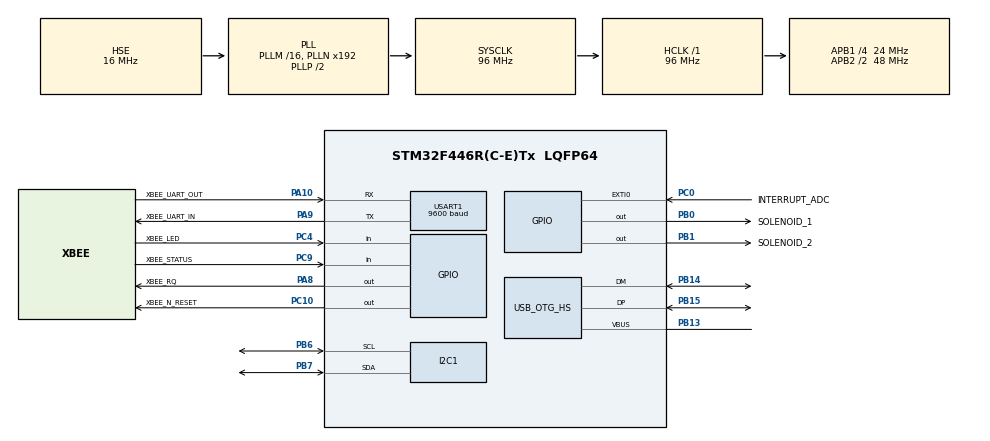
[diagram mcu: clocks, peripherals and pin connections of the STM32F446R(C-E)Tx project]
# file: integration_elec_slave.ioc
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Dma.I2C1_RX.0.Direction=DMA_PERIPH_TO_MEMORY
Dma.I2C1_RX.0.FIFOMode=DMA_FIFOMODE_DISABLE
Dma.I2C1_RX.0.Instance=DMA1_Stream0
Dma.I2C1_RX.0.MemDataAlignment=DMA_MDATAALIGN_BYTE
Dma.I2C1_RX.0.MemInc=DMA_MINC_ENABLE
Dma.I2C1_RX.0.Mode=DMA_NORMAL
Dma.I2C1_RX.0.PeriphDataAlignment=DMA_PDATAALIGN_BYTE
Dma.I2C1_RX.0.PeriphInc=DMA_PINC_DISABLE
Dma.I2C1_RX.0.Priority=DMA_PRIORITY_LOW
Dma.I2C1_TX.1.Direction=DMA_MEMORY_TO_PERIPH
Dma.I2C1_TX.1.FIFOMode=DMA_FIFOMODE_DISABLE
Dma.I2C1_TX.1.Instance=DMA1_Stream6
Dma.I2C1_TX.1.MemDataAlignment=DMA_MDATAALIGN_BYTE
Dma.I2C1_TX.1.MemInc=DMA_MINC_ENABLE
Dma.I2C1_TX.1.Mode=DMA_NORMAL
Dma.I2C1_TX.1.PeriphDataAlignment=DMA_PDATAALIGN_BYTE
Dma.I2C1_TX.1.PeriphInc=DMA_PINC_DISABLE
Dma.I2C1_TX.1.Priority=DMA_PRIORITY_LOW
Dma.Request0=I2C1_RX
Dma.Request1=I2C1_TX
Mcu.Family=STM32F4
Mcu.Name=STM32F446R(C-E)Tx
Mcu.Package=LQFP64
NVIC.DMA1_Stream0_IRQn=true\:0\:0\:false\:false\:true\:false\:true\:true
NVIC.DMA1_Stream6_IRQn=true\:0\:0\:false\:false\:true\:false\:true\:true
NVIC.EXTI0_IRQn=true\:0\:0\:false\:false\:true\:true\:true\:true
NVIC.I2C1_ER_IRQn=true\:0\:0\:false\:false\:true\:true\:true\:true
NVIC.I2C1_EV_IRQn=true\:0\:0\:false\:false\:true\:true\:true\:true
NVIC.OTG_HS_IRQn=true\:0\:0\:false\:false\:true\:false\:true\:true
NVIC.PriorityGroup=NVIC_PRIORITYGROUP_4
NVIC.TIM1_UP_TIM10_IRQn=true\:0\:0\:false\:false\:true\:true\:true\:true
NVIC.TIM2_IRQn=true\:0\:0\:false\:false\:true\:true\:true\:true
NVIC.USART1_IRQn=true\:0\:0\:false\:false\:true\:true\:true\:true
PA10.GPIO_Label=XBEE_UART_OUT
PA10.Mode=Asynchronous
PA10.Signal=USART1_RX
PA13.Mode=Serial_Wire
PA13.Signal=SYS_JTMS-SWDIO
PA14.Mode=Serial_Wire
PA14.Signal=SYS_JTCK-SWCLK
PA8.GPIO_Label=XBEE_RQ
PA8.GPIO_PuPd=GPIO_PULLDOWN
PA8.Signal=GPIO_Output
PA9.GPIO_Label=XBEE_UART_IN
PA9.Mode=Asynchronous
PA9.Signal=USART1_TX
PB0.GPIO_Label=SOLENOID_1
PB0.PinState=GPIO_PIN_RESET
PB0.Signal=GPIO_Output
PB1.GPIO_Label=SOLENOID_2
PB1.Signal=GPIO_Output
PB13.Mode=Activate_VBUS_FS
PB13.Signal=USB_OTG_HS_VBUS
PB14.Mode=Device_Only_FS
PB14.Signal=USB_OTG_HS_DM
PB15.Mode=Device_Only_FS
PB15.Signal=USB_OTG_HS_DP
PB6.Mode=I2C
PB6.Signal=I2C1_SCL
PB7.Mode=I2C
PB7.Signal=I2C1_SDA
PC0.GPIO_Label=INTERRUPT_ADC
PC0.GPIO_ModeDefaultEXTI=GPIO_MODE_IT_FALLING
PC0.GPIO_PuPd=GPIO_PULLUP
PC0.Signal=GPXTI0
PC10.GPIO_Label=XBEE_N_RESET
PC10.GPIO_PuPd=GPIO_PULLUP
PC10.Signal=GPIO_Output
PC4.GPIO_Label=XBEE_LED
PC4.Signal=GPIO_Input
PC9.GPIO_Label=XBEE_STATUS
PC9.Signal=GPIO_Input
PH0-OSC_IN.Mode=HSE-External-Oscillator
PH0-OSC_IN.Signal=RCC_OSC_IN
PH1-OSC_OUT.Mode=HSE-External-Oscillator
PH1-OSC_OUT.Signal=RCC_OSC_OUT
ProjectManager.HeapSize=0x200
ProjectManager.StackSize=0x400
ProjectManager.TargetToolchain=STM32CubeIDE
RCC.AHBFreq_Value=96000000
RCC.APB1CLKDivider=RCC_HCLK_DIV4
RCC.APB1Freq_Value=24000000
RCC.APB1TimFreq_Value=48000000
RCC.APB2CLKDivider=RCC_HCLK_DIV2
RCC.APB2Freq_Value=48000000
RCC.APB2TimFreq_Value=96000000
RCC.CortexFreq_Value=96000000
RCC.HCLKFreq_Value=96000000
RCC.HSE_VALUE=16000000
RCC.PLLQ=4
RCC.SYSCLKFreq_VALUE=96000000
RCC.SYSCLKSource=RCC_SYSCLKSOURCE_PLLCLK
RCC.USBFreq_Value=48000000
RCC.VCOOutputFreq_Value=192000000
TIM1.AutoReloadPreload=TIM_AUTORELOAD_PRELOAD_ENABLE
TIM1.Period=2000
TIM1.Prescaler=9599
TIM2.Period=500000
TIM2.Prescaler=48
USART1.BaudRate=9600
USART1.VirtualMode=VM_ASYNC
USB_DEVICE.CLASS_NAME_HS=CDC
USB_DEVICE.VirtualMode-CDC_HS=Cdc
USB_DEVICE.VirtualModeHS=Cdc_HS
USB_OTG_HS.VirtualMode-Device_Only_FS=Device_Only_FS
VP_TIM1_VS_ClockSourceINT.Mode=Internal
VP_TIM2_VS_ClockSourceINT.Mode=Internal
VP_USB_DEVICE_VS_USB_DEVICE_CDC_HS.Mode=CDC_HS
board=custom

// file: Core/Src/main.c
/* USER CODE BEGIN Header */
/**
  ******************************************************************************
  * @file           : main.c
  * @brief          : Main program body
  ******************************************************************************
  * @attention
  *
  * Copyright (c) 2026 STMicroelectronics.
  * All rights reserved.
  *
  * This software is licensed under terms that can be found in the LICENSE file
  * in the root directory of this software component.
  * If no LICENSE file comes with this software, it is provided AS-IS.
  *
  ******************************************************************************
  */
/* USER CODE END Header */
#include "main.h"
#include "dma.h"
#include "i2c.h"
#include "tim.h"
#include "usart.h"
#include "usb_device.h"
#include "gpio.h"

/* USER CODE BEGIN Includes */
#include "ads1015.h"
#include "XbeeRF.h"
#include "RF_Reception.h"
#include <string.h>
/* USER CODE END Includes */

/* USER CODE BEGIN PD */
#define ADS1015_REG_CONV 0b00000001
/* USER CODE END PD */

void SystemClock_Config(void);

/* USER CODE BEGIN 0 */
static ADS1015_Handle ads;
static float voltage;
static Xbee_message_receive receive_msg;
Xbee_Message send_msg;
volatile static bool new_rf_message = false;
/* USER CODE END 0 */

int main(void)
{

  /* MCU Configuration--------------------------------------------------------*/

  /* Reset of all peripherals, Initializes the Flash interface and the Systick. */
  HAL_Init();

  /* Configure the system clock */
  SystemClock_Config();

  /* Initialize all configured peripherals */
  MX_GPIO_Init();
  MX_DMA_Init();
  MX_I2C1_Init();
  MX_USART1_UART_Init();
  MX_TIM2_Init();
  MX_USB_DEVICE_Init();
  MX_TIM1_Init();
  /* USER CODE BEGIN 2 */
  // todo : implémenter les séquences d'initialisation des différents modules
  HAL_TIM_Base_Start_IT(&htim1);
  XBeeRF_Init();
  send_msg.start_char = 0xFEEDCAFE;
  send_msg.end_char = 0xBEEFCACA;

  //XBee_StartReceive();
  //HAL_UART_Receive_IT(&huart1, &temp_byte, 1);

  HAL_GPIO_WritePin(SOLENOID_1_GPIO_Port,SOLENOID_1_Pin,GPIO_PIN_RESET);
  HAL_GPIO_WritePin(SOLENOID_2_GPIO_Port,SOLENOID_2_Pin,GPIO_PIN_RESET);
  /* USER CODE BEGIN 2 */
  ADS1015_Init(&ads, &hi2c1);

  ADS1015_StartConversion(&ads);

  send_msg.start_char = 0xCACAFEED;
  send_msg.end_char = 0xCAFEBEEF;
  /* USER CODE END 2 */

  /* Infinite loop */
  /* USER CODE BEGIN WHILE */
  while (1)
  {
	  GPIO_PinState valve1 = HAL_GPIO_ReadPin(SOLENOID_1_GPIO_Port, SOLENOID_1_Pin);
	  GPIO_PinState valve2 = HAL_GPIO_ReadPin(SOLENOID_2_GPIO_Port, SOLENOID_2_Pin);

	  switch ((valve1 << 1) | valve2)
	  {
	      case 0b00: send_msg.valves = 0;  break;
	      case 0b10: send_msg.valves = 1;  break;
	      case 0b01: send_msg.valves = 2;  break;
	      case 0b11: send_msg.valves = 3;  break;
	  }

	  //HAL_Delay(1000);
	  //printf("miaw\r\n");
	  if (ads.data_ready_flag) {
	      int16_t raw = ADS1015_GetResult(&ads);
	      ADS1015_PrepMsg(raw);
	  }

	  if (new_rf_message){
	      new_rf_message = false;

	      if ((receive_msg.start_receive == 0xFEEDCACA) &&
	          (receive_msg.fin_receive   == 0xBEEFCAFE)){
	    	  printf("caliss:%X",receive_msg.start_receive);

	          HAL_GPIO_WritePin(SOLENOID_1_GPIO_Port, SOLENOID_1_Pin,
	              receive_msg.message_receive_valve1 == 0xFFFFFFFF ? GPIO_PIN_SET : GPIO_PIN_RESET);

	          HAL_GPIO_WritePin(SOLENOID_2_GPIO_Port, SOLENOID_2_Pin,
	              receive_msg.message_receive_valve2 == 0xFFFFFFFF ? GPIO_PIN_SET : GPIO_PIN_RESET);

	          printf("valve1=%lu valve2=%lu\r\n",
	                 receive_msg.message_receive_valve1,
	                 receive_msg.message_receive_valve2);
	      }
	      else {
	          printf("Message invalide\r\n");
	          printf("Start : %X\n\r", receive_msg.start_receive);
	          printf("end : %X\n\r", receive_msg.fin_receive);
	      }
	  }
    /* USER CODE END WHILE */

  }
}

void SystemClock_Config(void)
{
  RCC_OscInitTypeDef RCC_OscInitStruct = {0};
  RCC_ClkInitTypeDef RCC_ClkInitStruct = {0};

  /** Configure the main internal regulator output voltage
  */
  __HAL_RCC_PWR_CLK_ENABLE();
  __HAL_PWR_VOLTAGESCALING_CONFIG(PWR_REGULATOR_VOLTAGE_SCALE3);

  /** Initializes the RCC Oscillators according to the specified parameters
  * in the RCC_OscInitTypeDef structure.
  */
  RCC_OscInitStruct.OscillatorType = RCC_OSCILLATORTYPE_HSE;
  RCC_OscInitStruct.HSEState = RCC_HSE_ON;
  RCC_OscInitStruct.PLL.PLLState = RCC_PLL_ON;
  RCC_OscInitStruct.PLL.PLLSource = RCC_PLLSOURCE_HSE;
  RCC_OscInitStruct.PLL.PLLM = 16;
  RCC_OscInitStruct.PLL.PLLN = 192;
  RCC_OscInitStruct.PLL.PLLP = RCC_PLLP_DIV2;
  RCC_OscInitStruct.PLL.PLLQ = 4;
  RCC_OscInitStruct.PLL.PLLR = 2;
  if (HAL_RCC_OscConfig(&RCC_OscInitStruct) != HAL_OK)
  {
    Error_Handler();
  }

  /** Initializes the CPU, AHB and APB buses clocks
  */
  RCC_ClkInitStruct.ClockType = RCC_CLOCKTYPE_HCLK|RCC_CLOCKTYPE_SYSCLK
                              |RCC_CLOCKTYPE_PCLK1|RCC_CLOCKTYPE_PCLK2;
  RCC_ClkInitStruct.SYSCLKSource = RCC_SYSCLKSOURCE_PLLCLK;
  RCC_ClkInitStruct.AHBCLKDivider = RCC_SYSCLK_DIV1;
  RCC_ClkInitStruct.APB1CLKDivider = RCC_HCLK_DIV4;
  RCC_ClkInitStruct.APB2CLKDivider = RCC_HCLK_DIV2;

  if (HAL_RCC_ClockConfig(&RCC_ClkInitStruct, FLASH_LATENCY_3) != HAL_OK)
  {
    Error_Handler();
  }
}

/* USER CODE BEGIN 4 */
void HAL_GPIO_EXTI_Callback(uint16_t GPIO_Pin) {
    if (GPIO_Pin == INTERRUPT_ADC_Pin) {
        ADS1015_EXTI_Callback(&ads);
    }
}

void HAL_I2C_MemRxCpltCallback(I2C_HandleTypeDef *hi2c) {
    if (hi2c == &hi2c1) {
        ADS1015_DMA_RxComplete(&ads);
    }
}

#include "usbd_cdc_if.h"
int _write(int file, char *ptr, int len)
{
    CDC_Transmit_HS((uint8_t *)ptr, len); // Remplacer HS par FS si nécessaire
    return len;
}

void HAL_UART_RxCpltCallback(UART_HandleTypeDef *huart){
    if (huart->Instance == USART1){
        memcpy(&receive_msg, rx_uart_buffer, sizeof(Xbee_message_receive));
        new_rf_message = true;
        HAL_UART_Receive_IT(&XBEE_RF_UART_HANDLE, rx_uart_buffer, sizeof(Xbee_message_receive));
    }
}

void HAL_TIM_PeriodElapsedCallback(TIM_HandleTypeDef *htim)
{
    if (htim->Instance == TIM1)
    {
    	XBeeRF_Task(); // LED toutes les 500ms
        // ou set un flag :
        // flag_500ms = 1;
    }
}
/* USER CODE END 4 */

void Error_Handler(void)
{
  __disable_irq();
  while (1)
  {
  }
}
